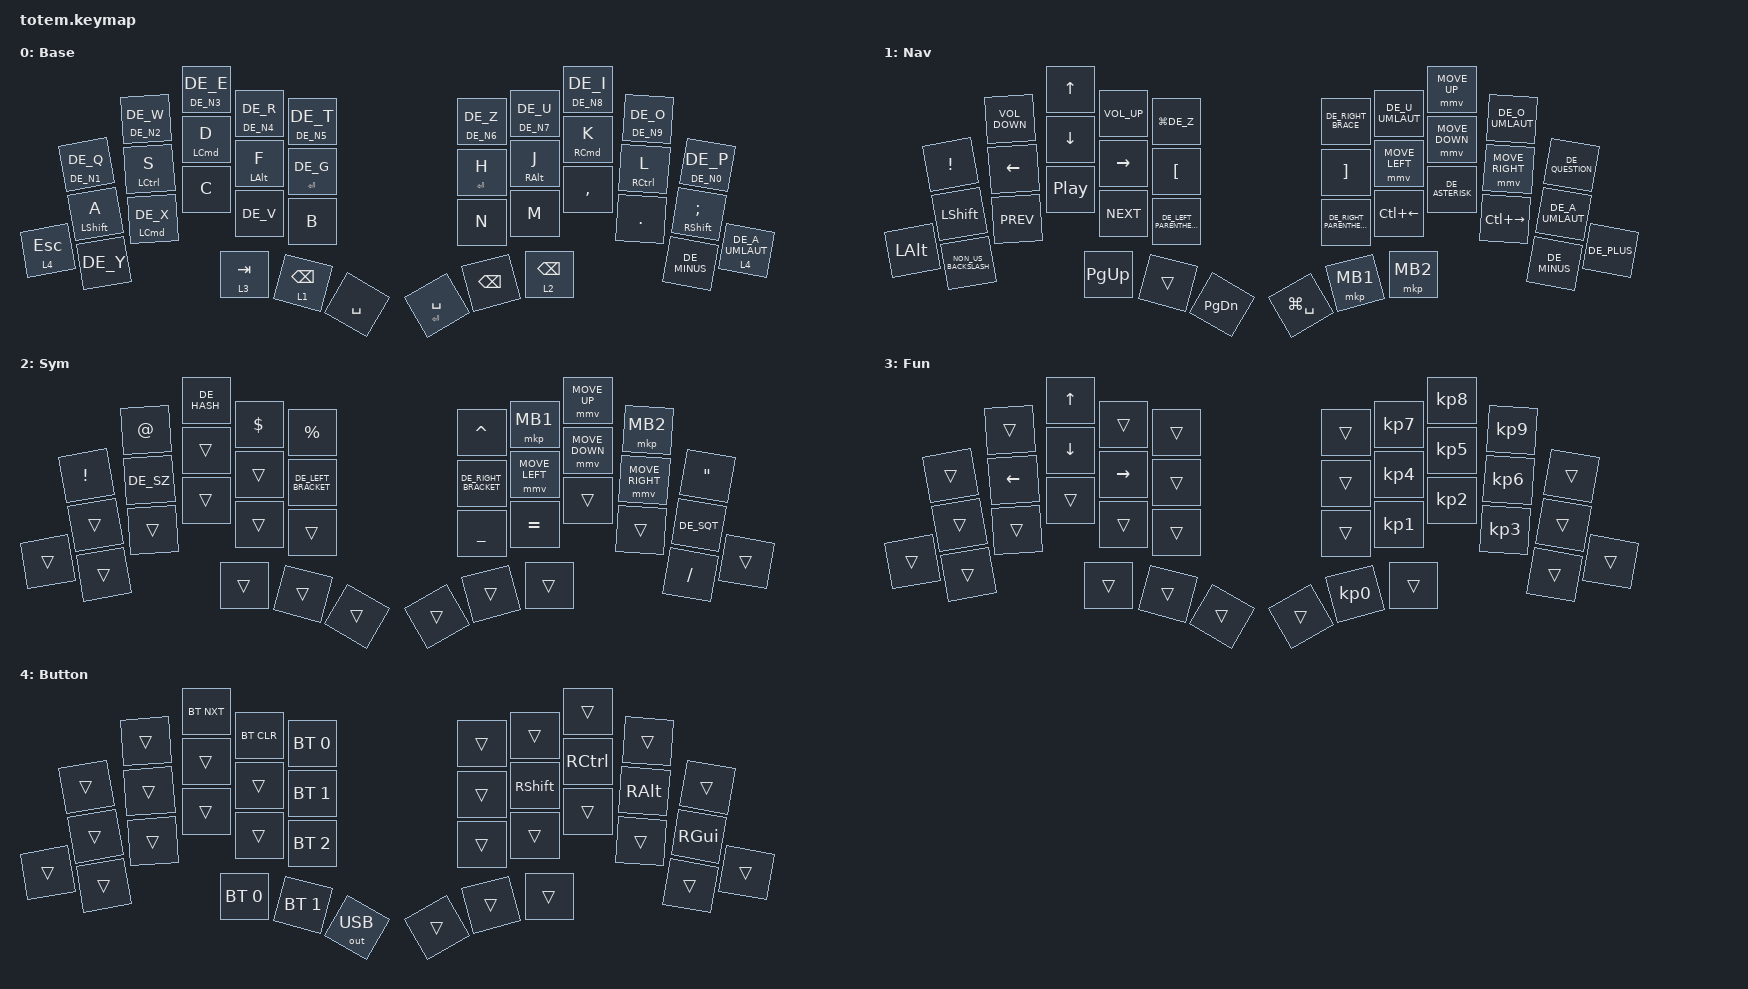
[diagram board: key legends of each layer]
//
//                                                        ▀▀▀▀▀     ▀▀▀▀▀          ▀▀█▀▀
//                                                        ▄▀▀▀▄  ▄  ▄▀▀▀▄  ▄  ▄▀▀▀▄  █  ▄▀▀▀▄
//                                                        █   █  █  █   █  █  █   █  █  █   █
//                                                         ▀▀▀   █   ▀▀▀   █   ▀▀▀   ▀   ▀▀▀
//                                                               █      ▄▄▄█▄▄▄    █   █  
//                                                               ▀      █  █  █     █▄█
//                                                             ▀▀▀▀▀    █  █  █      ▀
//                                                                      ▀  ▀  ▀
//
// ▄▄▄▄▄▄▄▄▄▄▄▄▄▄▄▄▄▄▄▄▄▄▄▄▄▄▄▄▄▄▄▄▄▄▄▄▄▄▄▄▄▄▄▄▄▄▄▄▄▄▄▄▄▄▄▄▄▄▄▄▄▄▄▄▄▄▄▄▄▄▄▄▄▄▄▄▄▄▄▄▄▄▄▄▄▄▄▄▄▄▄▄▄▄▄▄▄▄▄▄▄▄▄▄▄▄▄▄▄▄▄▄▄▄▄▄▄▄▄▄▄▄▄▄▄▄▄▄▄▄▄▄▄▄▄▄▄▄▄▄▄▄▄▄▄▄▄▄▄

#include "keys_de.h"

#define ZMK_POINTING_DEFAULT_MOVE_VAL 1500  // default: 600
#define ZMK_POINTING_DEFAULT_SCRL_VAL 20    // default: 10

#include <behaviors.dtsi>
#include <dt-bindings/zmk/bt.h>
#include <dt-bindings/zmk/keys.h>
#include <dt-bindings/zmk/outputs.h>
#include <dt-bindings/zmk/pointing.h>

#define Base        0
#define Media       1
#define Nav         2
#define Mouse       3
#define Sym         4
#define Num         5
#define Fun         6
#define Button      7
#define Game        8
#define Gameplus    9

&mt {
    quick-tap-ms = <100>;
    global-quick-tap;
    flavor = "tap-preferred";
    tapping-term-ms = <170>;
};

&lt {
    tapping-term-ms = <240>;
    flavor = "balanced";
    quick-tap-ms = <150>;
};

/ {
    behaviors {
        hm: homerow_mods {
            compatible = "zmk,behavior-hold-tap";
            label = "HOMEROW_MODS";
            #binding-cells = <2>;
            flavor = "tap-preferred";
            tapping-term-ms = <200>;
            quick-tap-ms = <125>;
            global-quick-tap;
            bindings = <&kp>, <&kp>;
        };

        urn: urn {
            compatible = "zmk,behavior-hold-tap";
            label = "URN";
            bindings = <&kp>, <&kp>;

            #binding-cells = <2>;
            tapping-term-ms = <200>;
            quick-tap-ms = <200>;
            flavor = "tap-preferred";
        };
    };

    combos { compatible = "zmk,combos"; };

    keymap {
        compatible = "zmk,keymap";

        Base {
            label = "Base";
            bindings = <
              &urn DE_N1 DE_Q   &urn DE_N2 DE_W        &urn DE_N3 DE_E     &urn DE_N4 DE_R  &urn DE_N5 DE_T    &urn DE_N6 DE_Z   &urn DE_N7 DE_U  &urn DE_N8 DE_I      &urn DE_N9 DE_O      &urn DE_N0 DE_P
              &hm LEFT_SHIFT A  &hm LEFT_CONTROL S     &hm LEFT_COMMAND D  &hm LEFT_ALT F   &hm ENTER DE_G     &hm ENTER H       &hm RIGHT_ALT J  &hm RIGHT_COMMAND K  &hm RIGHT_CONTROL L  &hm RIGHT_SHIFT SEMICOLON
&lt 4 ESCAPE  &kp DE_Y          &hm LEFT_COMMAND DE_X  &kp C               &kp DE_V         &kp B              &kp N             &kp M            &kp COMMA            &kp DOT              &kp DE_MINUS               &lt 4 DE_A_UMLAUT
                                                       &lt 3 TAB           &lt 1 BACKSPACE  &kp SPACE          &urn ENTER SPACE  &kp BACKSPACE    &lt 2 BACKSPACE
            >;
        };

        Nav {
            label = "Nav";
            bindings = <
              &kp EXCL              &kp C_VOLUME_DOWN  &kp UP_ARROW      &kp C_VOLUME_UP  &kp LG(DE_Z)               &kp DE_RIGHT_BRACE        &kp DE_U_UMLAUT     &mmv MOVE_UP     &kp DE_O_UMLAUT  &kp DE_QUESTION
              &kp LEFT_SHIFT        &kp LEFT           &kp DOWN          &kp RIGHT        &kp LEFT_BRACKET           &kp RIGHT_BRACKET         &mmv MOVE_LEFT      &mmv MOVE_DOWN   &mmv MOVE_RIGHT  &kp DE_A_UMLAUT
&kp LEFT_ALT  &kp NON_US_BACKSLASH  &kp C_PREV         &kp C_PLAY_PAUSE  &kp C_NEXT       &kp DE_LEFT_PARENTHESIS    &kp DE_RIGHT_PARENTHESIS  &kp LC(LEFT_ARROW)  &kp DE_ASTERISK  &kp LC(RIGHT)    &kp DE_MINUS     &kp DE_PLUS
                                                       &kp PAGE_UP       &trans           &kp PAGE_DOWN              &kp LG(SPACE)             &mkp MB1            &mkp MB2
            >;
        };

        Sym {
            label = "Sym";
            bindings = <
        &kp EXCL  &kp AT     &kp DE_HASH  &kp DOLLAR  &kp PERCENT            &kp CARET             &mkp MB1        &mmv MOVE_UP    &mkp MB2         &kp DQT
        &trans    &kp DE_SZ  &trans       &trans      &kp DE_LEFT_BRACKET    &kp DE_RIGHT_BRACKET  &mmv MOVE_LEFT  &mmv MOVE_DOWN  &mmv MOVE_RIGHT  &kp DE_SQT
&trans  &trans    &trans     &trans       &trans      &trans                 &kp UNDER             &kp EQUAL       &trans          &trans           &kp SLASH   &trans
                             &trans       &trans      &trans                 &trans                &trans          &trans
            >;
        };

        Fun {
            label = "Fun";
            bindings = <
        &trans  &trans          &kp UP_ARROW    &trans           &trans    &trans  &kp KP_NUMBER_7  &kp KP_NUMBER_8  &kp KP_NUMBER_9  &trans
        &trans  &kp LEFT_ARROW  &kp DOWN_ARROW  &kp RIGHT_ARROW  &trans    &trans  &kp KP_NUMBER_4  &kp KP_NUMBER_5  &kp KP_NUMBER_6  &trans
&trans  &trans  &trans          &trans          &trans           &trans    &trans  &kp KP_NUMBER_1  &kp KP_NUMBER_2  &kp KP_NUMBER_3  &trans  &trans
                                &trans          &trans           &trans    &trans  &kp KP_NUMBER_0  &trans
            >;
        };

        Button {
            label = "Button";
            bindings = <
        &trans  &trans  &bt BT_NXT    &bt BT_CLR    &bt BT_SEL 0    &trans  &trans      &trans     &trans    &trans
        &trans  &trans  &trans        &trans        &bt BT_SEL 1    &trans  &kp RSHIFT  &kp RCTRL  &kp RALT  &kp RGUI
&trans  &trans  &trans  &trans        &trans        &bt BT_SEL 2    &trans  &trans      &trans     &trans    &trans    &trans
                        &bt BT_SEL 0  &bt BT_SEL 1  &out OUT_USB    &trans  &trans      &trans
            >;
        };
    };
};
